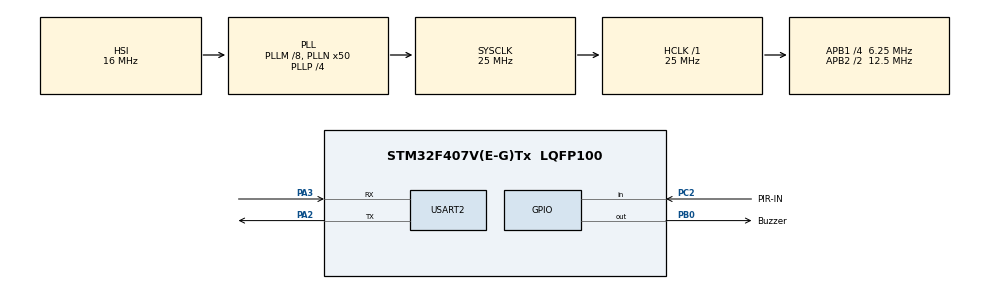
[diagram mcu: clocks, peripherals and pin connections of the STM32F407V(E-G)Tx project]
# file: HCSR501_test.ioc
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Mcu.Family=STM32F4
Mcu.Name=STM32F407V(E-G)Tx
Mcu.Package=LQFP100
NVIC.PriorityGroup=NVIC_PRIORITYGROUP_0
PA2.Mode=Asynchronous
PA2.Signal=USART2_TX
PA3.Mode=Asynchronous
PA3.Signal=USART2_RX
PB0.GPIO_Label=Buzzer
PB0.Signal=GPIO_Output
PC2.GPIO_Label=PIR-IN
PC2.GPIO_PuPd=GPIO_PULLDOWN
PC2.Signal=GPIO_Input
PH0-OSC_IN.Mode=HSE-External-Oscillator
PH0-OSC_IN.Signal=RCC_OSC_IN
PH1-OSC_OUT.Mode=HSE-External-Oscillator
PH1-OSC_OUT.Signal=RCC_OSC_OUT
ProjectManager.HeapSize=0x200
ProjectManager.StackSize=0x400
ProjectManager.TargetToolchain=STM32CubeIDE
RCC.48MHZClocksFreq_Value=14285714.285714285
RCC.AHBFreq_Value=25000000
RCC.APB1CLKDivider=RCC_HCLK_DIV4
RCC.APB1Freq_Value=6250000
RCC.APB1TimFreq_Value=12500000
RCC.APB2CLKDivider=RCC_HCLK_DIV2
RCC.APB2Freq_Value=12500000
RCC.APB2TimFreq_Value=25000000
RCC.CortexFreq_Value=25000000
RCC.HCLKFreq_Value=25000000
RCC.HSE_VALUE=8000000
RCC.HSI_VALUE=16000000
RCC.LSE_VALUE=32768
RCC.PLLM=8
RCC.PLLN=50
RCC.PLLP=RCC_PLLP_DIV4
RCC.PLLQ=7
RCC.SYSCLKFreq_VALUE=25000000
RCC.SYSCLKSource=RCC_SYSCLKSOURCE_PLLCLK
RCC.VCOOutputFreq_Value=100000000
USART2.VirtualMode=VM_ASYNC
board=STM32F407G-DISC1

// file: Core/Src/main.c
/* USER CODE BEGIN Header */
/**
  ******************************************************************************
  * @file           : main.c
  * @brief          : Main program body
  ******************************************************************************
  * @attention
  *
  * Copyright (c) 2026 STMicroelectronics.
  * All rights reserved.
  *
  * This software is licensed under terms that can be found in the LICENSE file
  * in the root directory of this software component.
  * If no LICENSE file comes with this software, it is provided AS-IS.
  *
  ******************************************************************************
  */
/* USER CODE END Header */
#include "main.h"

/* USER CODE BEGIN Includes */
#include<stdio.h>
#include<string.h>

/* USER CODE END Includes */

/* USER CODE BEGIN PD */
#define PIR_PIN					GPIO_PIN_2
#define PIR_PORT				GPIOC
#define BUZZER_PIN				GPIO_PIN_0
#define BUZZER_PORT				GPIOB
#define PIR_WARMUP_MS			30000U
#define PIR_DEBOUNCE_MS			50U
#define PIR_RECHECK_MS			120000U
#define POLL_INTERVAL_MS		50U
#define ALERT_BEEP_DURATION		100U
#define ALERT_BEEP_GAP			100U

/* USER CODE END PD */

UART_HandleTypeDef huart2;

/* USER CODE BEGIN PV */

static uint8_t pir_curr 			= 0;
static uint8_t pir_prev				= 0;
static uint8_t zone_occupied		= 0;
static uint32_t zone_entry_time		= 0;
static uint32_t last_recheck_time 	= 0;
static uint32_t total_events 		= 0;
static uint32_t system_start_time 	= 0;

/* USER CODE END PV */

void SystemClock_Config(void);
static void MX_GPIO_Init(void);
static void MX_USART2_UART_Init(void);

/* USER CODE BEGIN 0 */

int _write(int file, char *ptr, int len)
{
	HAL_UART_Transmit(&huart2, (uint8_t*)ptr, len, 100);
	return len;
}

void Buzzer_Beep(uint8_t count, uint32_t duration_ms)
{
	for (uint8_t i = 0; i < count; i++)
	{
		HAL_GPIO_WritePin(BUZZER_PORT, BUZZER_PIN, GPIO_PIN_SET);
		HAL_Delay(duration_ms);
		HAL_GPIO_WritePin(BUZZER_PORT, BUZZER_PIN, GPIO_PIN_RESET);
		if (i < count - 1) HAL_Delay(ALERT_BEEP_GAP);
	}

}

void print_uptime(void)
{
	uint32_t ms 		= HAL_GetTick() - system_start_time;
	uint32_t seconds	= (ms / 1000) % 60;
	uint32_t minutes	= (ms / 60000) % 60;
	uint32_t hours		= (ms / 3600000);
	printf("%02lu:%02lu:%02lu", hours, minutes, seconds);
}

/* USER CODE END 0 */

int main(void)
{

  /* MCU Configuration--------------------------------------------------------*/

  /* Reset of all peripherals, Initializes the Flash interface and the Systick. */
  HAL_Init();

  /* Configure the system clock */
  SystemClock_Config();

  /* Initialize all configured peripherals */
  MX_GPIO_Init();
  MX_USART2_UART_Init();
  /* USER CODE BEGIN 2 */
  system_start_time = HAL_GetTick();
  printf("\r\n==================================================\r\n");
  printf("	SERVER ROOM SECURITY MONITOR\r\n");
  printf("	STM32F407 Discovery - PIR v1.0\r\n");
  printf("\r\n==============================================\r\n");

  printf("[BOOT] Buzzer self-test...\r\n");
  Buzzer_Beep(2, 50);
  printf("[BOOT] Buzzer OK\r\n\n");

  printf("[PIR]	Warming up - stand clear\r\n");
  printf("[PIR]	Please wait %lu seconds...\r\n\n", PIR_WARMUP_MS / 1000);
  HAL_Delay(PIR_WARMUP_MS);

  printf("[PIR]	Sensor ready - monitoring PC2\r\n");
  printf("[SYSTEM]	Monitoring ACTIVE\r\n\n");

  /* USER CODE END 2 */

  /* Infinite loop */
  /* USER CODE BEGIN WHILE */
  while (1)
  {
      pir_curr = HAL_GPIO_ReadPin(PIR_PORT, PIR_PIN);
      uint32_t now = HAL_GetTick();

      /* RISING EDGE — entry */
      if (pir_curr == GPIO_PIN_SET && pir_prev == GPIO_PIN_RESET)
      {
          HAL_Delay(PIR_DEBOUNCE_MS);
          if (HAL_GPIO_ReadPin(PIR_PORT, PIR_PIN) == GPIO_PIN_SET)
          {
              if (!zone_occupied)
              {
                  zone_occupied     = 1;
                  zone_entry_time   = HAL_GetTick();
                  last_recheck_time = zone_entry_time;
                  total_events++;

                  printf("=============================================\r\n");
                  printf("  [!] MOTION DETECTED - ZONE ENTERED\r\n");
                  printf("=============================================\r\n");
                  printf("  Event  : #%lu\r\n", total_events);
                  printf("  Uptime : ");
                  print_uptime();
                  printf("\r\n");
                  printf("  Status : OCCUPIED\r\n");
                  printf("=============================================\r\n\n");

                  Buzzer_Beep(1, ALERT_BEEP_DURATION);
              }
          }
          else
          {
              printf("[PIR] Noise filtered\r\n");
          }
      }

      /* STILL OCCUPIED — re-alert every 2 min */
      if (zone_occupied && pir_curr == GPIO_PIN_SET)
      {
          if ((now - last_recheck_time) >= PIR_RECHECK_MS)
          {
              last_recheck_time = now;
              uint32_t dur = now - zone_entry_time;
              printf("[!] STILL OCCUPIED - %lu min %lu sec\r\n",
                     dur / 60000, (dur % 60000) / 1000);
              Buzzer_Beep(2, ALERT_BEEP_DURATION);
          }
      }

      /* FALLING EDGE — exit */
      if (pir_curr == GPIO_PIN_RESET && pir_prev == GPIO_PIN_SET)
      {
          if (zone_occupied)
          {
              zone_occupied = 0;
              uint32_t dur  = now - zone_entry_time;
              printf("=============================================\r\n");
              printf("  [OK] ZONE CLEARED\r\n");
              printf("=============================================\r\n");
              printf("  Duration : %lu min %lu sec\r\n",
                     dur / 60000, (dur % 60000) / 1000);
              printf("  Total    : %lu events\r\n", total_events);
              printf("  Status   : SECURE\r\n");
              printf("=============================================\r\n\n");
          }
      }

      pir_prev = pir_curr;
      HAL_Delay(POLL_INTERVAL_MS);
    /* USER CODE END WHILE */

  }
}

void SystemClock_Config(void)
{
  RCC_OscInitTypeDef RCC_OscInitStruct = {0};
  RCC_ClkInitTypeDef RCC_ClkInitStruct = {0};

  /** Configure the main internal regulator output voltage
  */
  __HAL_RCC_PWR_CLK_ENABLE();
  __HAL_PWR_VOLTAGESCALING_CONFIG(PWR_REGULATOR_VOLTAGE_SCALE1);

  /** Initializes the RCC Oscillators according to the specified parameters
  * in the RCC_OscInitTypeDef structure.
  */
  RCC_OscInitStruct.OscillatorType = RCC_OSCILLATORTYPE_HSI;
  RCC_OscInitStruct.HSIState = RCC_HSI_ON;
  RCC_OscInitStruct.HSICalibrationValue = RCC_HSICALIBRATION_DEFAULT;
  RCC_OscInitStruct.PLL.PLLState = RCC_PLL_ON;
  RCC_OscInitStruct.PLL.PLLSource = RCC_PLLSOURCE_HSI;
  RCC_OscInitStruct.PLL.PLLM = 8;
  RCC_OscInitStruct.PLL.PLLN = 50;
  RCC_OscInitStruct.PLL.PLLP = RCC_PLLP_DIV4;
  RCC_OscInitStruct.PLL.PLLQ = 7;
  if (HAL_RCC_OscConfig(&RCC_OscInitStruct) != HAL_OK)
  {
    Error_Handler();
  }

  /** Initializes the CPU, AHB and APB buses clocks
  */
  RCC_ClkInitStruct.ClockType = RCC_CLOCKTYPE_HCLK|RCC_CLOCKTYPE_SYSCLK
                              |RCC_CLOCKTYPE_PCLK1|RCC_CLOCKTYPE_PCLK2;
  RCC_ClkInitStruct.SYSCLKSource = RCC_SYSCLKSOURCE_PLLCLK;
  RCC_ClkInitStruct.AHBCLKDivider = RCC_SYSCLK_DIV1;
  RCC_ClkInitStruct.APB1CLKDivider = RCC_HCLK_DIV4;
  RCC_ClkInitStruct.APB2CLKDivider = RCC_HCLK_DIV2;

  if (HAL_RCC_ClockConfig(&RCC_ClkInitStruct, FLASH_LATENCY_0) != HAL_OK)
  {
    Error_Handler();
  }
}

static void MX_USART2_UART_Init(void)
{

  huart2.Instance = USART2;
  huart2.Init.BaudRate = 115200;
  huart2.Init.WordLength = UART_WORDLENGTH_8B;
  huart2.Init.StopBits = UART_STOPBITS_1;
  huart2.Init.Parity = UART_PARITY_NONE;
  huart2.Init.Mode = UART_MODE_TX_RX;
  huart2.Init.HwFlowCtl = UART_HWCONTROL_NONE;
  huart2.Init.OverSampling = UART_OVERSAMPLING_16;
  if (HAL_UART_Init(&huart2) != HAL_OK)
  {
    Error_Handler();
  }

}

static void MX_GPIO_Init(void)
{
  GPIO_InitTypeDef GPIO_InitStruct = {0};

  /* GPIO Ports Clock Enable */
  __HAL_RCC_GPIOH_CLK_ENABLE();
  __HAL_RCC_GPIOC_CLK_ENABLE();
  __HAL_RCC_GPIOA_CLK_ENABLE();
  __HAL_RCC_GPIOB_CLK_ENABLE();

  /*Configure GPIO pin Output Level */
  HAL_GPIO_WritePin(Buzzer_GPIO_Port, Buzzer_Pin, GPIO_PIN_RESET);

  /*Configure GPIO pin : PIR_IN_Pin */
  GPIO_InitStruct.Pin = PIR_IN_Pin;
  GPIO_InitStruct.Mode = GPIO_MODE_INPUT;
  GPIO_InitStruct.Pull = GPIO_PULLDOWN;
  HAL_GPIO_Init(PIR_IN_GPIO_Port, &GPIO_InitStruct);

  /*Configure GPIO pin : Buzzer_Pin */
  GPIO_InitStruct.Pin = Buzzer_Pin;
  GPIO_InitStruct.Mode = GPIO_MODE_OUTPUT_PP;
  GPIO_InitStruct.Pull = GPIO_NOPULL;
  GPIO_InitStruct.Speed = GPIO_SPEED_FREQ_LOW;
  HAL_GPIO_Init(Buzzer_GPIO_Port, &GPIO_InitStruct);

}

void Error_Handler(void)
{
  __disable_irq();
  while (1)
  {
  }
}
